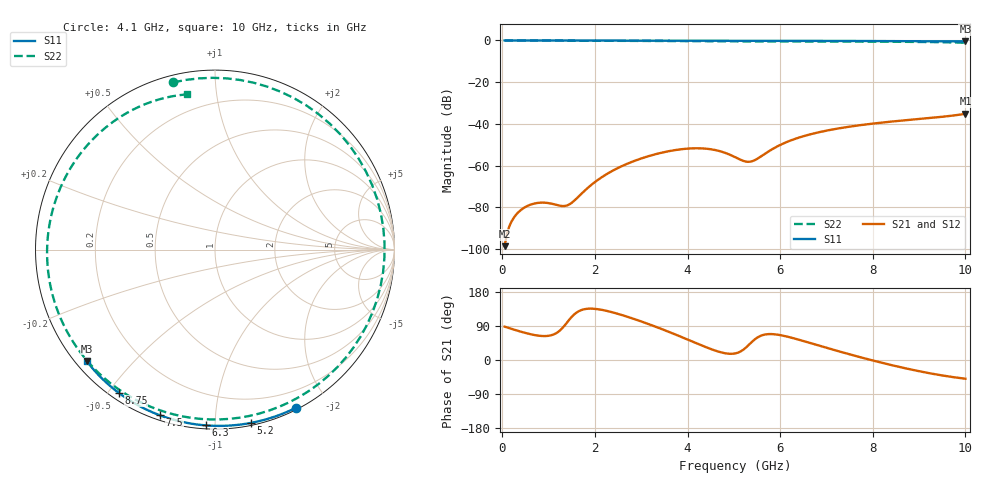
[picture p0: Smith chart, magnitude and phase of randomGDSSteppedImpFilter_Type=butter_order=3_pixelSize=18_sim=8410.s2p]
! freq	dB(S11)	phase(S11)	dB(S12)	phase(S12)
!  dB(S21)	phase(S21)	dB(S22)	phase(S22)
!S-par simulation data
#  GHz  S  DB  R 50
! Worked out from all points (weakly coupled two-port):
!   200 points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, 50 MHz to 10 GHz, reference 50 ohm
!   highest |S21| = -35.16 dB at 10 GHz (marker M1); lowest = -98.6 dB at 50 MHz (marker M2)
!   lowest |S11| = -0.5 dB at 10 GHz (marker M3), VSWR 36.77, Z = 1.55 - j18.6 ohm
!   |S11| at or under -10 dB: nowhere
!   |S22| runs from -1.1 to 0.0 dB; largest |S21 - S12| = 0
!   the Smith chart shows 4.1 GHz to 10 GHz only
!   S11 on the Smith chart (normalised r, x): 4.1 GHz: 0.02, -1.63; 5.2 GHz: 0.02, -1.23; 6.3 GHz: 0.02, -0.95; 7.5 GHz: 0.02, -0.72; 8.75 GHz: 0.03, -0.53; 10 GHz: 0.03, -0.37
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0.05  -0.00 -0.8  -98.61 88.0  -98.61 88.0  -0.00 -3.3
0.45  -0.01 -7.2  -80.49 73.0  -80.49 73.0  -0.04 -28.8
0.95  -0.02 -15.2  -77.82 63.3  -77.82 63.3  -0.08 -59.8
1.4  -0.03 -22.3  -79.07 99.2  -79.07 99.2  -0.11 -86.5
1.75  -0.04 -27.7  -72.62 133.4  -72.62 133.4  -0.13 -106.5
2.65  -0.05 -41.6  -59.56 116.1  -59.56 116.1  -0.18 -157.0
3.05  -0.06 -47.6  -56.20 99.6  -56.20 99.6  -0.21 179.4
3.4  -0.07 -52.8  -54.02 83.7  -54.02 83.7  -0.25 157.0
3.75  -0.08 -57.9  -52.49 66.7  -52.49 66.7  -0.30 132.2
4.1  -0.09 -62.9  -51.72 48.9  -51.72 48.9  -0.35 104.0
4.55  -0.10 -69.3  -52.32 26.9  -52.32 26.9  -0.43 62.5
5.05  -0.12 -76.3  -56.18 17.9  -56.18 17.9  -0.48 12.2
5.2  -0.12 -78.4  -57.69 26.8  -57.69 26.8  -0.49 -2.7
5.4  -0.13 -81.1  -57.85 48.9  -57.85 48.9  -0.49 -21.8
5.75  -0.14 -85.8  -53.19 68.4  -53.19 68.4  -0.49 -52.2
6.3  -0.17 -93.1  -47.34 57.1  -47.34 57.1  -0.48 -91.8
6.7  -0.19 -98.3  -44.71 43.1  -44.71 43.1  -0.48 -115.3
7.5  -0.24 -108.4  -41.32 15.0  -41.32 15.0  -0.52 -153.6
8.35  -0.31 -119.0  -39.01 -11.9  -39.01 -11.9  -0.60 171.8
8.75  -0.34 -123.9  -38.14 -23.1  -38.14 -23.1  -0.66 156.1
9.4  -0.41 -131.8  -36.81 -38.7  -36.81 -38.7  -0.81 129.4
10  -0.47 -139.1  -35.16 -49.4  -35.16 -49.4  -1.12 100.4
